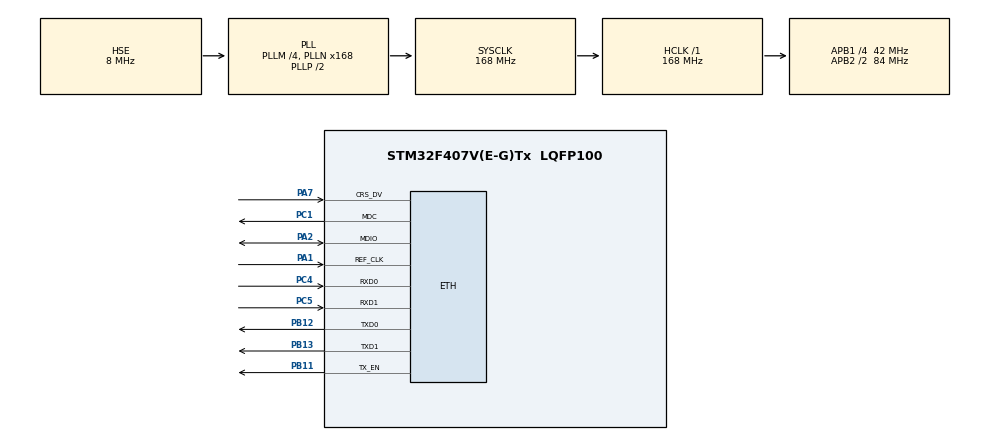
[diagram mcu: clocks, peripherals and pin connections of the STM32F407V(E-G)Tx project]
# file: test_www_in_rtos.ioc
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ADC1.Channel-3\#ChannelRegularConversion=ADC_CHANNEL_TEMPSENSOR
ADC1.NbrOfConversionFlag=1
ADC1.Rank-3\#ChannelRegularConversion=1
ADC1.SamplingTime-3\#ChannelRegularConversion=ADC_SAMPLETIME_3CYCLES
ADC1.master=1
ETH.MediaInterface=ETH_MEDIA_INTERFACE_RMII
FREERTOS.Tasks01=defaultTask,24,128,StartDefaultTask,Default,NULL,Dynamic,NULL,NULL
LWIP.CHECKSUM_BY_HARDWARE=1
LWIP.IP_ADDRESS=010.000.000.200
LWIP.LWIP_CHECKSUM_CTRL_PER_NETIF=0
LWIP.LWIP_DHCP=0
LWIP.LWIP_HTTPD=0
LWIP.NETMASK_ADDRESS=255.255.000.000
LWIP.Version=v2.1.2_Cube
Mcu.Family=STM32F4
Mcu.Name=STM32F407V(E-G)Tx
Mcu.Package=LQFP100
NVIC.ETH_IRQn=true\:5\:0\:false\:false\:true\:true\:false\:true
NVIC.PriorityGroup=NVIC_PRIORITYGROUP_4
NVIC.TIM1_UP_TIM10_IRQn=true\:0\:0\:false\:false\:true\:false\:false\:true
NVIC.TimeBase=TIM1_UP_TIM10_IRQn
NVIC.TimeBaseIP=TIM1
PA1.Mode=RMII
PA1.Signal=ETH_REF_CLK
PA13.Mode=Trace_Asynchronous_SW
PA13.Signal=SYS_JTMS-SWDIO
PA14.Mode=Trace_Asynchronous_SW
PA14.Signal=SYS_JTCK-SWCLK
PA2.Mode=RMII
PA2.Signal=ETH_MDIO
PA7.Mode=RMII
PA7.Signal=ETH_CRS_DV
PB11.Mode=RMII
PB11.Signal=ETH_TX_EN
PB12.Mode=RMII
PB12.Signal=ETH_TXD0
PB13.Mode=RMII
PB13.Signal=ETH_TXD1
PB3.Mode=Trace_Asynchronous_SW
PB3.Signal=SYS_JTDO-SWO
PC1.Mode=RMII
PC1.Signal=ETH_MDC
PC4.Mode=RMII
PC4.Signal=ETH_RXD0
PC5.Mode=RMII
PC5.Signal=ETH_RXD1
PH0-OSC_IN.Mode=HSE-External-Oscillator
PH0-OSC_IN.Signal=RCC_OSC_IN
PH1-OSC_OUT.Mode=HSE-External-Oscillator
PH1-OSC_OUT.Signal=RCC_OSC_OUT
ProjectManager.HeapSize=0x200
ProjectManager.StackSize=0x400
ProjectManager.TargetToolchain=Makefile
RCC.48MHZClocksFreq_Value=84000000
RCC.AHBFreq_Value=168000000
RCC.APB1CLKDivider=RCC_HCLK_DIV4
RCC.APB1Freq_Value=42000000
RCC.APB1TimFreq_Value=84000000
RCC.APB2CLKDivider=RCC_HCLK_DIV2
RCC.APB2Freq_Value=84000000
RCC.APB2TimFreq_Value=168000000
RCC.CortexFreq_Value=168000000
RCC.HCLKFreq_Value=168000000
RCC.HSE_VALUE=8000000
RCC.HSI_VALUE=16000000
RCC.LSE_VALUE=32768
RCC.PLLM=4
RCC.PLLN=168
RCC.PLLSourceVirtual=RCC_PLLSOURCE_HSE
RCC.SYSCLKFreq_VALUE=168000000
RCC.SYSCLKSource=RCC_SYSCLKSOURCE_PLLCLK
RCC.VCOOutputFreq_Value=336000000
VP_ADC1_TempSens_Input.Mode=IN-TempSens
VP_FREERTOS_VS_CMSIS_V2.Mode=CMSIS_V2
VP_LWIP_VS_Enabled.Mode=Enabled
VP_SYS_VS_tim1.Mode=TIM1
board=custom

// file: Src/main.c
/* USER CODE BEGIN Header */
/**
  ******************************************************************************
  * @file           : main.c
  * @brief          : Main program body
  ******************************************************************************
  * @attention
  *
  * <h2><center>&copy; Copyright (c) 2020 STMicroelectronics.
  * All rights reserved.</center></h2>
  *
  * This software component is licensed by ST under Ultimate Liberty license
  * SLA0044, the "License"; You may not use this file except in compliance with
  * the License. You may obtain a copy of the License at:
  *                             www.st.com/SLA0044
  *
  ******************************************************************************
  */
/* USER CODE END Header */

#include "main.h"
#include "cmsis_os.h"
#include "adc.h"
#include "lwip.h"
#include "gpio.h"

/* USER CODE BEGIN Includes */
#include "httpserver-netconn.h"
/* USER CODE END Includes */

void SystemClock_Config(void);
void MX_FREERTOS_Init(void);

int main(void)
{

  /* MCU Configuration--------------------------------------------------------*/

  /* Reset of all peripherals, Initializes the Flash interface and the Systick. */
  HAL_Init();

  /* Configure the system clock */
  SystemClock_Config();

  /* Initialize all configured peripherals */
  MX_GPIO_Init();
  MX_ADC1_Init();

  /* Init scheduler */
  osKernelInitialize();  /* Call init function for freertos objects (in freertos.c) */
  MX_FREERTOS_Init();
  /* Start scheduler */
  osKernelStart();

  /* We should never get here as control is now taken by the scheduler */
  /* Infinite loop */
  while (1)
  {

  }
}

void SystemClock_Config(void)
{
  RCC_OscInitTypeDef RCC_OscInitStruct = {0};
  RCC_ClkInitTypeDef RCC_ClkInitStruct = {0};

  /** Configure the main internal regulator output voltage
  */
  __HAL_RCC_PWR_CLK_ENABLE();
  __HAL_PWR_VOLTAGESCALING_CONFIG(PWR_REGULATOR_VOLTAGE_SCALE1);
  /** Initializes the CPU, AHB and APB busses clocks
  */
  RCC_OscInitStruct.OscillatorType = RCC_OSCILLATORTYPE_HSE;
  RCC_OscInitStruct.HSEState = RCC_HSE_ON;
  RCC_OscInitStruct.PLL.PLLState = RCC_PLL_ON;
  RCC_OscInitStruct.PLL.PLLSource = RCC_PLLSOURCE_HSE;
  RCC_OscInitStruct.PLL.PLLM = 4;
  RCC_OscInitStruct.PLL.PLLN = 168;
  RCC_OscInitStruct.PLL.PLLP = RCC_PLLP_DIV2;
  RCC_OscInitStruct.PLL.PLLQ = 4;
  if (HAL_RCC_OscConfig(&RCC_OscInitStruct) != HAL_OK)
  {
    Error_Handler();
  }
  /** Initializes the CPU, AHB and APB busses clocks
  */
  RCC_ClkInitStruct.ClockType = RCC_CLOCKTYPE_HCLK|RCC_CLOCKTYPE_SYSCLK
                              |RCC_CLOCKTYPE_PCLK1|RCC_CLOCKTYPE_PCLK2;
  RCC_ClkInitStruct.SYSCLKSource = RCC_SYSCLKSOURCE_PLLCLK;
  RCC_ClkInitStruct.AHBCLKDivider = RCC_SYSCLK_DIV1;
  RCC_ClkInitStruct.APB1CLKDivider = RCC_HCLK_DIV4;
  RCC_ClkInitStruct.APB2CLKDivider = RCC_HCLK_DIV2;

  if (HAL_RCC_ClockConfig(&RCC_ClkInitStruct, FLASH_LATENCY_5) != HAL_OK)
  {
    Error_Handler();
  }
}

 /**
  * @brief  Period elapsed callback in non blocking mode
  * @note   This function is called  when TIM1 interrupt took place, inside
  * HAL_TIM_IRQHandler(). It makes a direct call to HAL_IncTick() to increment
  * a global variable "uwTick" used as application time base.
  * @param  htim : TIM handle
  * @retval None
  */
void HAL_TIM_PeriodElapsedCallback(TIM_HandleTypeDef *htim)
{
  if (htim->Instance == TIM1) {
    HAL_IncTick();
  }
}

void Error_Handler(void)
{
}

/************************ (C) COPYRIGHT STMicroelectronics *****END OF FILE****/

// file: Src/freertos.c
/* USER CODE BEGIN Header */
/**
 ******************************************************************************
 * File Name          : freertos.c
 * Description        : Code for freertos applications
 ******************************************************************************
 * @attention
 *
 * <h2><center>&copy; Copyright (c) 2020 STMicroelectronics.
 * All rights reserved.</center></h2>
 *
 * This software component is licensed by ST under Ultimate Liberty license
 * SLA0044, the "License"; You may not use this file except in compliance with
 * the License. You may obtain a copy of the License at:
 *                             www.st.com/SLA0044
 *
 ******************************************************************************
 */
/* USER CODE END Header */

#include "FreeRTOS.h"
#include "task.h"
#include "main.h"
#include "cmsis_os.h"

/* USER CODE BEGIN Includes */
#include "httpserver-netconn.h"
#include "lwip.h"
#include "bosh_BME.h"
/* USER CODE END Includes */

/* Definitions for defaultTask */
osThreadId_t defaultTaskHandle;
const osThreadAttr_t defaultTask_attributes = {
  .name = "defaultTask",
  .priority = (osPriority_t) osPriorityIdle,
  .stack_size = 512
};

/* USER CODE BEGIN FunctionPrototypes */
osThreadId_t BMETaskHandle;
const osThreadAttr_t bme_thread_attributes = {
  .name = "bme_thread",
  .priority = (osPriority_t) osPriorityNormal,
  .stack_size = 512
};
void BME_task();
static volatile application_state state;
/* USER CODE END FunctionPrototypes */

void StartDefaultTask(void *argument);

extern void MX_LWIP_Init(void);
void MX_FREERTOS_Init(void); /* (MISRA C 2004 rule 8.1) */

void MX_FREERTOS_Init(void) {

  /* Create the thread(s) */
  /* creation of defaultTask */
  defaultTaskHandle = osThreadNew(StartDefaultTask, NULL, &defaultTask_attributes);

  /* USER CODE BEGIN RTOS_THREADS */
  /* add threads, ... */
  BMETaskHandle = osThreadNew(BME_task, NULL, &bme_thread_attributes);
  /* USER CODE END RTOS_THREADS */

}

/* USER CODE BEGIN Header_StartDefaultTask */

#define HTTP_OK "HTTP/1.1 200 OK\n"
#define HTTP_NOT_FOUND "HTTP/1.1 404 Not Found\n"

#define CONTENT_TYPE_JSON "Content-Type: application/json; charset=utf-8\n"
#define CONTENT_TYPE_TEXT "Content-Type: text/html; charset=utf-8\n"

#define END_OF_HEADER "\r\n"
#include "../webpages/index.h"
#include <string.h>
err_t index_html_handler(struct netconn *connection_context) {
  err_t ret = netconn_write(
      connection_context, HTTP_OK CONTENT_TYPE_TEXT "\r\n",
      strlen(HTTP_OK) + strlen(CONTENT_TYPE_TEXT) + 2, NETCONN_NOCOPY);

  ret = netconn_write(connection_context, (const unsigned char *)index_html,
                      index_html_len, NETCONN_NOCOPY);
  return ret;
}

static void i2C_event(uint32_t event) {
BME_i2c_event_register(event);
}
void BME_task(){
  log_message("start BME task\n");
   extern ARM_DRIVER_I2C Driver_I2C1;

  Driver_I2C1.Initialize(i2C_event);
  Driver_I2C1.PowerControl(ARM_POWER_FULL);
  Driver_I2C1.Control(ARM_I2C_BUS_SPEED, ARM_I2C_BUS_SPEED_FAST);
  Driver_I2C1.Control(ARM_I2C_BUS_CLEAR, 0);
  init_BME(&Driver_I2C1);
  log_message("BME initialized\n");
  const TickType_t xDelay = 500;
  while(true){
    BME_set_enable();
    run_BME(&state);
    osDelay(xDelay);
  }
}

err_t check_memeory(struct netconn *connection_context){
  netconn_write(connection_context, HTTP_OK CONTENT_TYPE_JSON END_OF_HEADER,
                strlen(HTTP_OK) + strlen(CONTENT_TYPE_JSON) +
                    strlen(END_OF_HEADER),
                NETCONN_NOCOPY);
  static char value[255];
  uint32_t size_of_val = snprintf(value,255,
  "{\n"\
  "\"total_mem\":%d\n"\
  "\"free_mem\":%d\n"\
"\"historic_min_free\":%d\n"\
"\"used_mem\":%d\n"\
  "}"
  ,configTOTAL_HEAP_SIZE,xPortGetFreeHeapSize(),xPortGetMinimumEverFreeHeapSize(),configTOTAL_HEAP_SIZE-xPortGetFreeHeapSize());
  netconn_write(connection_context, value, size_of_val, NETCONN_NOCOPY);
  return ERR_OK;
}

err_t get_BME_temperature(struct netconn *connection_context) {
  netconn_write(connection_context, HTTP_OK CONTENT_TYPE_JSON END_OF_HEADER,
                strlen(HTTP_OK) + strlen(CONTENT_TYPE_JSON) +
                    strlen(END_OF_HEADER),
                NETCONN_NOCOPY);
  static char value[255];
  uint32_t size_of_val = snprintf(value,255,
  "{"\
  "\"temperature\":%d.%02d,"\
  "\"unit\":\"°C\""\
  "}"
  ,(uint32_t)state.temp, ((uint32_t)(state.temp*100))%100);
  netconn_write(connection_context, value, size_of_val, NETCONN_NOCOPY);
  return ERR_OK;
}
err_t get_BME_pressure(struct netconn *connection_context) {
  netconn_write(connection_context, HTTP_OK CONTENT_TYPE_JSON END_OF_HEADER,
                strlen(HTTP_OK) + strlen(CONTENT_TYPE_JSON) +
                    strlen(END_OF_HEADER),
                NETCONN_NOCOPY);
  static char value[255];
  uint32_t size_of_val = snprintf(value,255,
  "{"\
  "\"pressure\":%d.%04d,"\
  "\"unit\":\"hPa\""\
  "}"
  ,(uint32_t)state.pressure/100, ((uint32_t)(state.pressure*100))%10000);
  netconn_write(connection_context, value, size_of_val, NETCONN_NOCOPY);
  return ERR_OK;
}
err_t get_BME_humidity(struct netconn *connection_context) {
  netconn_write(connection_context, HTTP_OK CONTENT_TYPE_JSON END_OF_HEADER,
                strlen(HTTP_OK) + strlen(CONTENT_TYPE_JSON) +
                    strlen(END_OF_HEADER),
                NETCONN_NOCOPY);
  static char value[255];
  uint32_t size_of_val = snprintf(value,255,
  "{"\
  "\"humidity\":%d.%02d,"\
  "\"unit\":\"%%\""\
  "}"
  ,(uint32_t)state.humidity, ((uint32_t)(state.humidity*100))%100);
  netconn_write(connection_context, value, size_of_val, NETCONN_NOCOPY);
  return ERR_OK;
}

/* USER CODE BEGIN Header_StartDefaultTask */
/**
 * @brief  Function implementing the defaultTask thread.
 * @param  argument: Not used
 * @retval None
 */
/* USER CODE END Header_StartDefaultTask */
void StartDefaultTask(void *argument) {
  log_message("start default task\n");

  // sys_thread_new("BME280", BME_task, NULL,
  //                DEFAULT_THREAD_STACKSIZE, osPriorityNormal);
  // /* init code for LWIP */
  MX_LWIP_Init();
  /* USER CODE BEGIN StartDefaultTask */
  register_endpoint(GET, "/alive", alive_handler);
  register_endpoint(GET, "/index.html", index_html_handler);
  register_endpoint(GET, "/", index_html_handler);
  register_endpoint(GET, "/temperature", get_BME_temperature);
  register_endpoint(GET, "/pressure", get_BME_pressure);
  register_endpoint(GET, "/humidity", get_BME_humidity);
  register_endpoint(GET, "/memory", check_memeory);
  http_server_netconn_init();
  //

  /* Infinite loop */
  for (;;) {
    poll();
  }
  /* USER CODE END StartDefaultTask */
}

/************************ (C) COPYRIGHT STMicroelectronics *****END OF FILE****/
